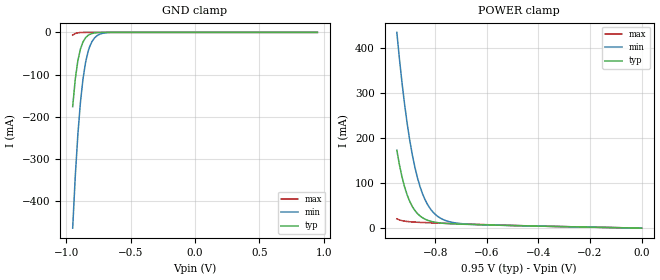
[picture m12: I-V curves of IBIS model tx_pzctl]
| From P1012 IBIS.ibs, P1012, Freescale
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[Model]   tx_pzctl
Model_type Input
Vinh=0.76
Vinl=0.19
C_comp   1.67pF   1.67pF   1.67pf
[Model Spec]
[Temperature Range] 65   125   -40
[Voltage Range]   0.95   0.85   1.21
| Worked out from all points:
|   GND clamp passes 1 mA (typ) near -0.77 V on its own axis
|   POWER clamp passes 1 mA (typ) near -0.09 V on its own axis
[GND Clamp]
-950mV    -175.9mA   -463.9mA   -6.552mA
-930mV    -111.2mA   -341.7mA   -2.735mA
-910mV    -67.53mA   -242.8mA   -1.068mA
-890mV    -39.71mA   -166.4mA   -361.8uA
-870mV    -22.75mA   -110.4mA   -66.85uA
-850mV    -12.73mA   -71.2mA    0A
-820mV    -5.084mA   -35.33mA   0A
-800mV    -2.652mA   -21.61mA   0A
-760mV    -602.9uA   -7.614mA   0A
-720mV    -25.41uA   -2.369mA   0A
-640mV    0A         0A         0A
950mV     0A         0A         0A
[POWER Clamp]
-950mV    173.1mA    434.7mA    20.55mA
-930mV    113.8mA    323.3mA    16.69mA
-920mV    91.7mA     275.5mA    15.58mA
-900mV    59.46mA    195.6mA    14.19mA
-880mV    39.27mA    135.4mA    13.37mA
-860mV    27.04mA    92.24mA    12.79mA
-840mV    19.77mA    62.57mA    12.31mA
-820mV    15.48mA    42.86mA    11.87mA
-800mV    12.93mA    30.08mA    11.45mA
-750mV    10.04mA    14.91mA    10.44mA
-680mV    8.431mA    9.084mA    9.086mA
0V        706.6nA    753.3nA    331.3nA
